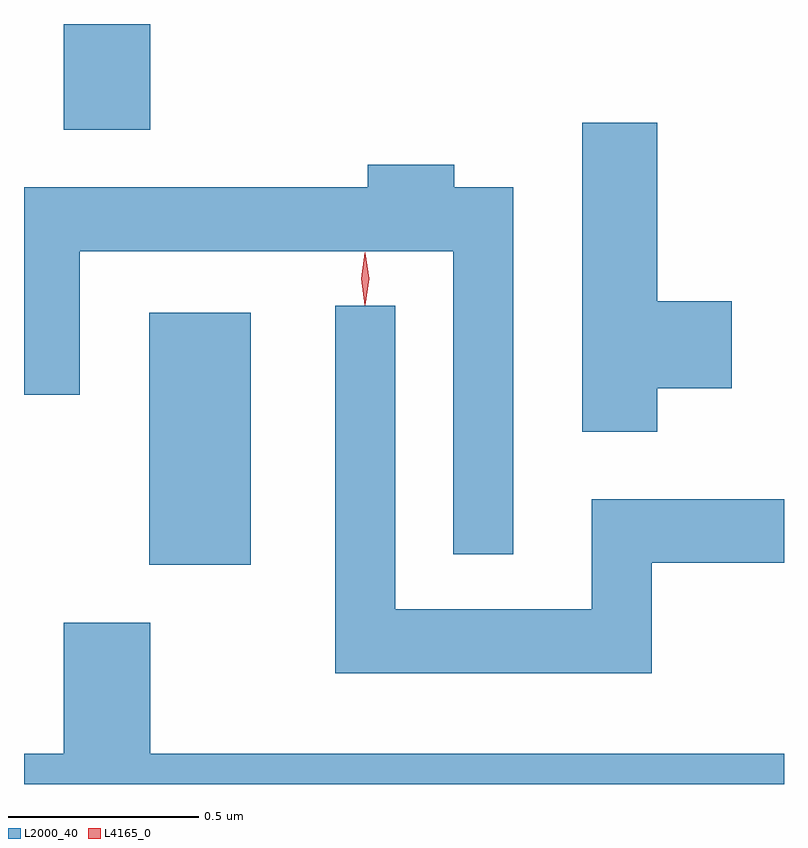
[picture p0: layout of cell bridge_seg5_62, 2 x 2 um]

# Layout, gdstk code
import gdstk
lib = gdstk.Library(unit=1e-6, precision=1e-09)
def R(c, l, rs):  # rectangles x0, y0, x1, y1
    for r in rs: c.add(gdstk.rectangle(r[:2], r[2:], *l))
def P(c, l, *ps):  # polygons
    for p in ps: c.add(gdstk.Polygon(p, *l))
L2000_40 = (2000, 40)
L4165_0 = (4165, 0)

bridge_seg5_62 = lib.new_cell('bridge_seg5_62')
R(bridge_seg5_62, L2000_40, [(1301.956,1475.321,1302.224,1475.984), (1301.731,1476.466,1301.959,1476.744)])
P(bridge_seg5_62, L2000_40, [(1303.294,1475.786),(1303.489,1475.786),(1303.489,1476.014),(1303.294,1476.014),(1303.294,1476.484),(1303.096,1476.484),(1303.096,1475.671),(1303.294,1475.671)],
  [(1302.914,1476.314),(1302.759,1476.314),(1302.759,1476.374),(1302.531,1476.374),(1302.531,1476.314),(1301.627,1476.314),(1301.627,1475.768),(1301.774,1475.768),(1301.774,1476.146),(1302.756,1476.146),(1302.756,1475.348),(1302.914,1475.348)],
  [(1303.279,1475.326),(1303.627,1475.326),(1303.627,1475.494),(1303.121,1475.494),(1303.121,1475.204),(1302.604,1475.204),(1302.604,1476.003),(1302.446,1476.003),(1302.446,1475.036),(1303.279,1475.036)],
  [(1303.627,1474.824),(1301.959,1474.824),(1301.959,1475.169),(1301.731,1475.169),(1301.731,1474.824),(1301.627,1474.824),(1301.627,1474.744),(1303.627,1474.744)])
P(bridge_seg5_62, L4165_0, [(1302.524,1476.007),(1302.515,1476.074),(1302.524,1476.14),(1302.525,1476.141),(1302.525,1476.14),(1302.535,1476.074),(1302.525,1476.007),(1302.525,1476.007)],
  [(1302.524,1476.004),(1302.515,1476.073),(1302.524,1476.142),(1302.525,1476.143),(1302.525,1476.142),(1302.535,1476.073),(1302.525,1476.004),(1302.525,1476.004)])

lib.write_gds('bridge_seg5_62.gds')
